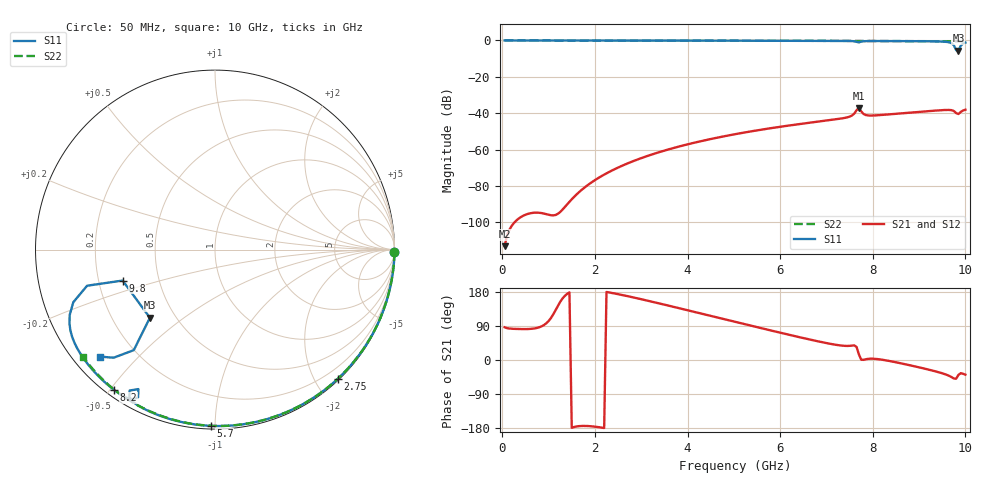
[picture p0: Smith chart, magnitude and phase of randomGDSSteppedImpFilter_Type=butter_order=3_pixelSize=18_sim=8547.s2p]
! freq	dB(S11)	phase(S11)	dB(S12)	phase(S12)
!  dB(S21)	phase(S21)	dB(S22)	phase(S22)
!S-par simulation data
#  GHz  S  DB  R 50
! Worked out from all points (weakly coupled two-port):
!   200 points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, 50 MHz to 10 GHz, reference 50 ohm
!   highest |S21| = -37.09 dB at 7.7 GHz (marker M1); lowest = -113.0 dB at 50 MHz (marker M2)
!   lowest |S11| = -5.6 dB at 9.85 GHz (marker M3), VSWR 3.21, Z = 18.1 - j19 ohm
!   |S11| at or under -10 dB: nowhere
!   |S22| runs from -0.5 to 0.0 dB; largest |S21 - S12| = 0
!   S11 on the Smith chart (normalised r, x): 50 MHz: open; 2.75 GHz: 0.02, -2.34; 5.7 GHz: 0.02, -0.98; 8.2 GHz: 0.02, -0.51; 9.8 GHz: 0.30, -0.15; 10 GHz: 0.08, -0.39
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0.05  -0.00 -0.9  -113.04 86.4  -113.04 86.4  -0.00 -0.8
1.75  -0.04 -29.9  -81.34 -174.0  -81.34 -174.0  -0.04 -28.0
2.75  -0.06 -46.3  -67.09 167.3  -67.09 167.3  -0.06 -43.5
3.4  -0.08 -56.7  -61.28 149.0  -61.28 149.0  -0.07 -53.3
5.05  -0.13 -81.9  -51.40 100.1  -51.40 100.1  -0.12 -77.1
5.7  -0.15 -91.4  -48.59 80.8  -48.59 80.8  -0.14 -86.0
6.7  -0.21 -105.7  -45.00 52.4  -45.00 52.4  -0.19 -99.3
7.5  -0.31 -117.9  -41.86 37.4  -41.86 37.4  -0.24 -109.6
7.6  -0.46 -120.2  -40.20 38.5  -40.20 38.5  -0.25 -110.9
7.65  -0.74 -121.2  -38.31 34.4  -38.31 34.4  -0.25 -111.5
7.7  -1.04 -118.8  -37.09 14.9  -37.09 14.9  -0.25 -112.1
7.8  -0.44 -118.7  -40.38 0.4  -40.38 0.4  -0.26 -113.4
7.85  -0.37 -119.9  -40.99 2.0  -40.99 2.0  -0.27 -114.1
8.2  -0.33 -125.8  -40.93 0.8  -40.93 0.8  -0.29 -118.5
8.35  -0.34 -128.1  -40.61 -2.4  -40.61 -2.4  -0.31 -120.3
9.3  -0.49 -143.7  -38.64 -28.2  -38.64 -28.2  -0.40 -132.2
9.65  -1.03 -155.8  -38.18 -41.9  -38.18 -41.9  -0.43 -136.5
9.75  -2.61 -164.2  -38.75 -48.7  -38.75 -48.7  -0.45 -137.7
9.8  -5.31 -161.5  -39.91 -49.3  -39.91 -49.3  -0.45 -138.4
9.85  -5.59 -133.7  -40.41 -39.2  -40.41 -39.2  -0.46 -139.0
9.9  -2.85 -128.9  -39.27 -34.7  -39.27 -34.7  -0.46 -139.6
10  -1.17 -137.0  -38.05 -38.7  -38.05 -38.7  -0.47 -140.8
